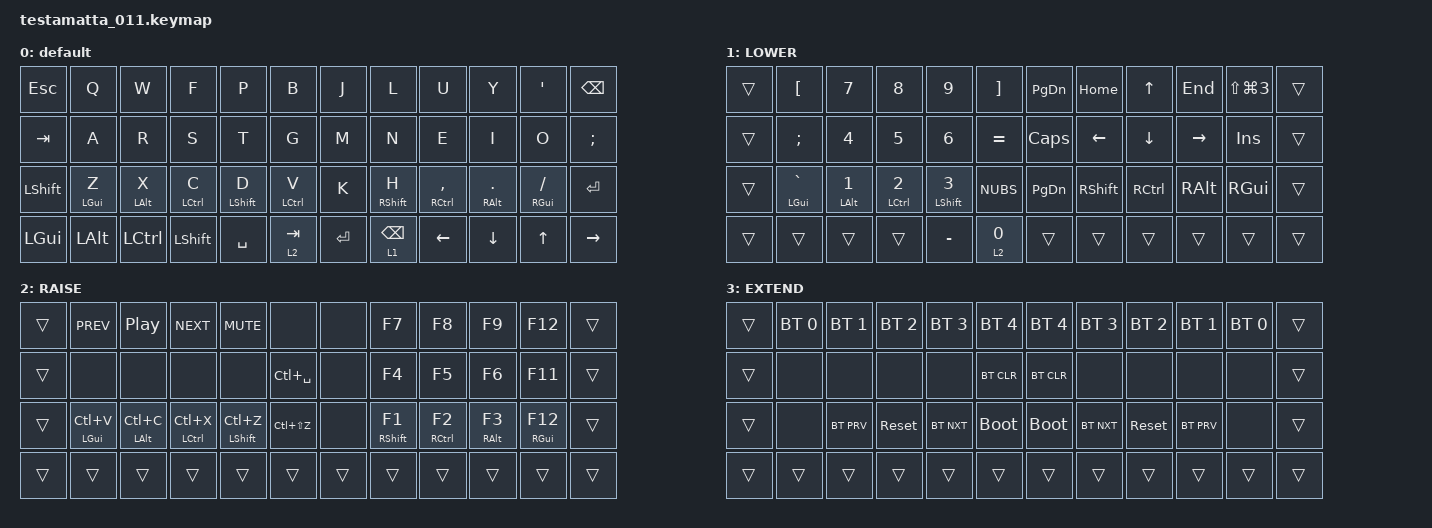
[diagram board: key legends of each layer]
/*
 * Copyright (c) 2022 The ZMK Contributors
 *
 * SPDX-License-Identifier: MIT
 */

#include <behaviors.dtsi>
#include <dt-bindings/zmk/bt.h>
#include <dt-bindings/zmk/keys.h>

#define BASE 0
#define LOWER 1
#define RAISE 2
#define EXTEND 3

&lt {
    quick_tap_ms = <200>;
};

/ {
    conditional_layers {
        compatible = "zmk,conditional-layers";

        tri_layer {
            if-layers = <1 2>;
            then-layer = <3>;
        };
    };

    combos {
        compatible = "zmk,combos";

        QW_ESC {
            bindings = <&kp ESC>;
            key-positions = <1 2>;
            layers = <0>;
        };

        CAPS_WORD {
            bindings = <&caps_word>;
            key-positions = <28 31>;
            layers = <0>;
        };

        THUMB_DOT {
            bindings = <&kp PERIOD>;
            key-positions = <41 40>;
            layers = <1>;
        };

        LEFTSHIFT {
            bindings = <&kp LSHIFT>;
            key-positions = <14 15>;
            layers = <0>;
        };

        RIGHTSHIFT {
            bindings = <&kp RSHIFT>;
            key-positions = <21 20>;
            layers = <0>;
        };
    };

    keymap {
        compatible = "zmk,keymap";

        /* Default layer from 011:
            [0] = LAYOUT(
                 ,-------------------------------------------------------------------------------------------------.
                | Esc  |   Q  |   W  |   F  |   P  |   B  |      |      |   J  |   L  |   U  |   Y  |   '  | Bksp |
                |------+------+------+------+------+------+------+------+------+------+------+------+------+------|
                | Tab  |   A  |   R  |   S  |   T  |   G  |      |      |   M  |   N  |   E  |   I  |   O  |  ;   |
                |------+------+------+------+------+------+------+------+------+------+------+------+------+------|
                | Shift|   Z  |   X  |   C  |   D  |   V  |      |      |   K  |   H  |   ,  |   .  |   /  | Enter|
                |------+------+------+------+------+------+------+------+------+------+------+------|-------------|
                |      |  GUI | Alt  | Ctrl | Shift| Space| Tab/2| Ent  |Bksp/1| Left | Down |  Up  | Right|      |
                `-------------------------------------------------------------------------------------------------'
            ),
        */

        default {
            bindings = <
&kp ESC     &kp Q       &kp W       &kp F        &kp P         &kp B        &kp J      &kp L         &kp U            &kp Y            &kp SQT         &kp BSPC
&kp TAB     &kp A       &kp R       &kp S        &kp T         &kp G        &kp M      &kp N         &kp E            &kp I            &kp O           &kp SEMI
&kp LSHIFT  &mt LGUI Z  &mt LALT X  &mt LCTRL C  &mt LSHIFT D  &mt LCTRL V  &kp K      &mt RSHIFT H  &mt RCTRL COMMA  &mt RALT PERIOD  &mt RGUI SLASH  &kp ENTER
&kp LGUI    &kp LALT    &kp LCTRL   &kp LSHIFT   &kp SPACE     &lt 2 TAB    &kp ENTER  &lt 1 BSPC    &kp LEFT         &kp DOWN         &kp UP          &kp RIGHT
            >;
        };

        lower_layer {
            label = "LOWER";
            bindings = <
&trans  &kp LBKT          &kp N7             &kp N8              &kp N9               &kp RBKT              &kp PG_DN  &kp HOME    &kp UP     &kp END    &kp LS(LG(NUMBER_3))  &trans
&trans  &kp SEMI          &kp N4             &kp N5              &kp N6               &kp EQUAL             &kp CAPS   &kp LEFT    &kp DOWN   &kp RIGHT  &kp INS               &trans
&trans  &mt LGUI GRAVE    &mt LALT N1        &mt LCTRL N2        &mt LSHIFT N3        &kp NUBS              &kp PG_DN  &kp RSHIFT  &kp RCTRL  &kp RALT   &kp RGUI              &trans
&trans  &trans            &trans             &trans              &kp MINUS            &lt 2 N0              &trans     &trans      &trans     &trans     &trans                &trans
            >;
        };

        raise_layer {
            label = "RAISE";
            bindings = <
&trans      &kp C_PREV       &kp C_PP        &kp C_NEXT         &kp C_MUTE        &none          &none  &kp F7          &kp F8        &kp F9         &kp F12            &trans
&trans      &none            &none           &none              &none             &kp LC(SPACE)  &none  &kp F4          &kp F5        &kp F6         &kp F11            &trans
&trans      &mt LGUI LC(V)   &mt LALT LC(C)  &mt LCTRL LC(X)    &mt LSHIFT LC(Z)  &kp LC(LS(Z))  &none  &mt RSHIFT F1   &mt RCTRL F2  &mt RALT F3    &mt RGUI F12       &trans
&trans      &trans           &trans          &trans             &trans            &trans         &trans &trans          &trans        &trans         &trans             &trans
            >;
        };

        extend_layer {
            label = "EXTEND";
            bindings = <
&trans  &bt BT_SEL 0  &bt BT_SEL 1  &bt BT_SEL 2  &bt BT_SEL 3  &bt BT_SEL 4  &bt BT_SEL 4  &bt BT_SEL 3  &bt BT_SEL 2  &bt BT_SEL 1  &bt BT_SEL 0  &trans
&trans  &none         &none         &none         &none         &bt BT_CLR    &bt BT_CLR    &none         &none         &none         &none         &trans
&trans  &none         &bt BT_PRV    &sys_reset    &bt BT_NXT    &bootloader   &bootloader   &bt BT_NXT    &sys_reset    &bt BT_PRV    &none         &trans
&trans  &trans        &trans        &trans        &trans        &trans        &trans        &trans        &trans        &trans        &trans        &trans
            >;
        };
    };
};
